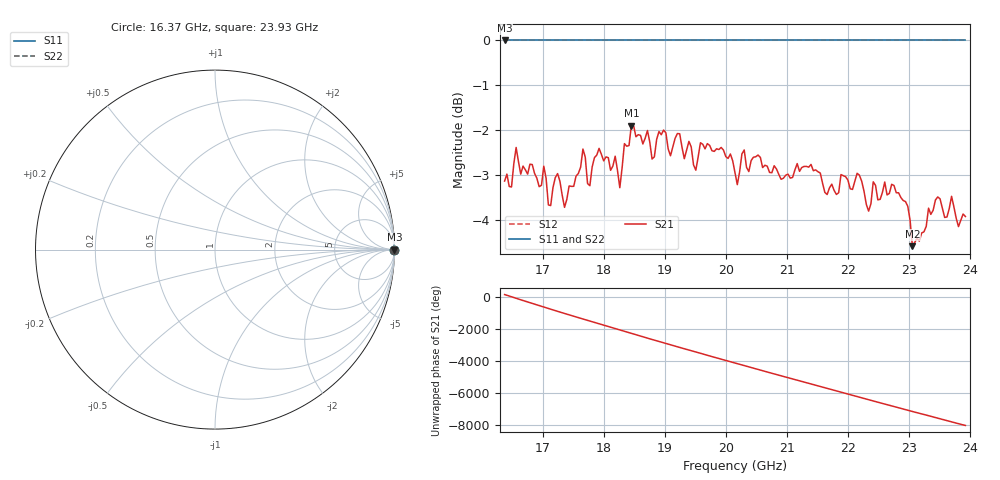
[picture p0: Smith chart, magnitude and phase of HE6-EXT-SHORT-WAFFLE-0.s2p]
!Agilent N9918A: A.07.57
!Date: Thursday, 22 August 2019 15:16:35
!Timezone: (GMT-08:00) Pacific Time (US & Canada)
!Model: N9918A
!Serial: MY53103598
!GPS Latitude:
!GPS Longitude:
!GPS TimeStamp: 0001-01-01 00:00:00Z
!GPS Seconds Since Last Read: 0
!CHECKSUM:1139701310
!Correction: S11()S21(Rdy)S12()S22()
!S2P File: Measurements:S11,S21,S12,S22:
# Hz S DB R 50
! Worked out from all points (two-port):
!   201 points, 16.37 GHz to 23.93 GHz, reference 50 ohm
!   highest |S21| = -1.89 dB at 18.45 GHz (marker M1); lowest = -4.6 dB at 23.06 GHz (marker M2)
!   |S21| within 3 dB of the highest: start of sweep to end of sweep
!   lowest |S11| = 0.0 dB at 16.37 GHz (marker M3)
!   |S11| at or under -10 dB: nowhere
!   |S22| runs from 0.0 to 0.0 dB; largest |S21 - S12| = 1.8
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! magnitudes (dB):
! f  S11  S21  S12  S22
! 16.37 GHz  0.0  -3.1  0.0  0.0
! 16.49 GHz  0.0  -3.3  0.0  0.0
! 16.56 GHz  0.0  -2.4  0.0  0.0
! 17.24 GHz  0.0  -3.0  0.0  0.0
! 17.35 GHz  0.0  -3.7  0.0  0.0
! 17.66 GHz  0.0  -2.4  0.0  0.0
! 17.73 GHz  0.0  -3.2  0.0  0.0
! 17.92 GHz  0.0  -2.4  0.0  0.0
! 18.26 GHz  0.0  -3.3  0.0  0.0
! 18.45 GHz  0.0  -1.9  0.0  0.0
! 18.79 GHz  0.0  -2.6  0.0  0.0
! 18.9 GHz  0.0  -2.0  0.0  0.0
! 19.51 GHz  0.0  -2.9  0.0  0.0
! 19.92 GHz  0.0  -2.4  0.0  0.0
! 20.19 GHz  0.0  -3.2  0.0  0.0
! 20.3 GHz  0.0  -2.4  0.0  0.0
! 21.44 GHz  0.0  -2.9  0.0  0.0
! 22.68 GHz  0.0  -3.4  0.0  0.0
! 22.98 GHz  0.0  -3.7  0.0  0.0
! 23.06 GHz  0.0  -4.6  0.0  0.0
! 23.48 GHz  0.0  -3.5  0.0  0.0
! 23.93 GHz  0.0  -3.9  0.0  0.0
